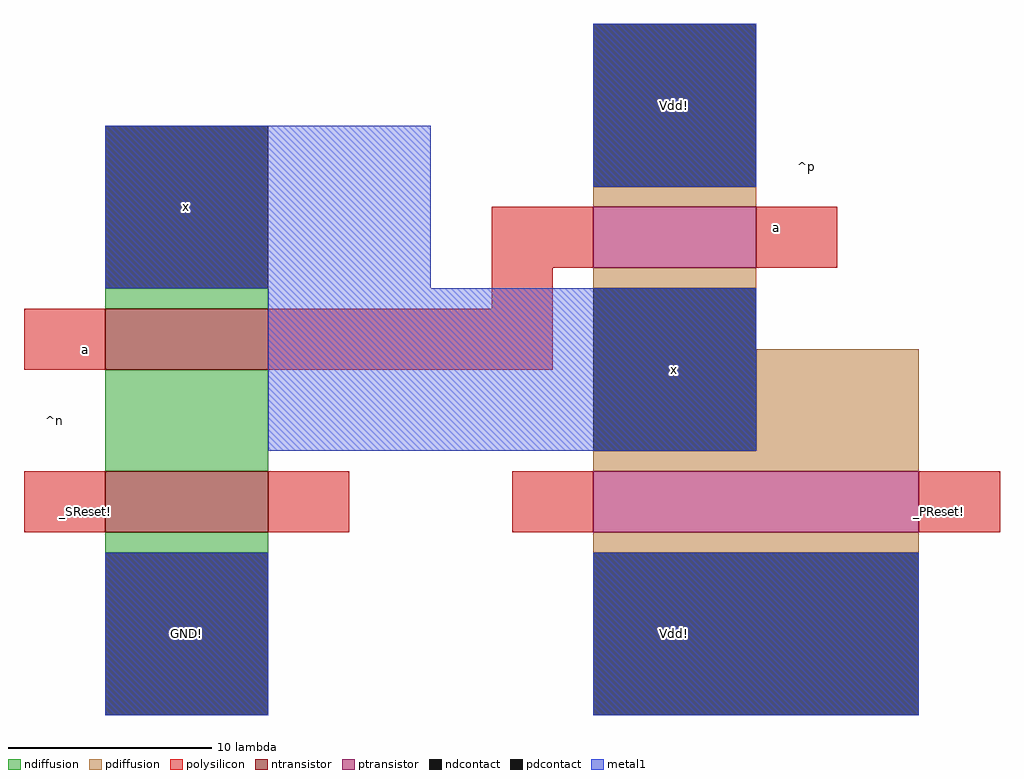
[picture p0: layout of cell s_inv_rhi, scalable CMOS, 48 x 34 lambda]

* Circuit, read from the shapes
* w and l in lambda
.subckt s_inv_rhi GND! Vdd! _PReset! _SReset! a x
M1 n1 _SReset! GND! VSUBS nfet w=8 l=3
M2 x a n1 VSUBS nfet w=8 l=3
M3 x _PReset! Vdd! NWELL pfet w=16 l=3
M4 Vdd! a x NWELL pfet w=8 l=3
.ends

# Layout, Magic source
magic
tech scmos
<< ndiffusion >>
rect -16 56 -8 57
rect -16 48 -8 53
rect -16 44 -8 45
<< pdiffusion >>
rect 8 61 16 62
rect 8 57 16 58
rect 16 49 24 54
rect 8 48 24 49
rect 8 44 24 45
<< ntransistor >>
rect -16 53 -8 56
rect -16 45 -8 48
<< ptransistor >>
rect 8 58 16 61
rect 8 45 24 48
<< polysilicon >>
rect 3 58 8 61
rect 16 58 20 61
rect 3 56 6 58
rect -20 53 -16 56
rect -8 53 6 56
rect -20 45 -16 48
rect -8 45 -4 48
rect 4 45 8 48
rect 24 45 28 48
<< ndcontact >>
rect -16 57 -8 65
rect -16 36 -8 44
<< pdcontact >>
rect 8 62 16 70
rect 8 49 16 57
rect 8 36 24 44
<< metal1 >>
rect -16 57 0 65
rect 8 62 16 70
rect -8 49 16 57
rect -16 36 -8 44
rect 8 36 24 44
<< labels >>
rlabel pdcontact 12 40 12 40 5 Vdd!
rlabel ndcontact -12 61 -12 61 4 x
rlabel ndcontact -12 40 -12 40 5 GND!
rlabel space -21 36 -16 65 7 ^n
rlabel polysilicon 17 60 17 60 7 a
rlabel pdcontact 12 66 12 66 5 Vdd!
rlabel pdcontact 12 53 12 53 7 x
rlabel polysilicon -17 54 -17 54 3 a
rlabel polysilicon -17 46 -17 46 3 _SReset!
rlabel polysilicon 25 46 25 46 1 _PReset!
rlabel space 16 56 21 70 3 ^p
<< end >>
